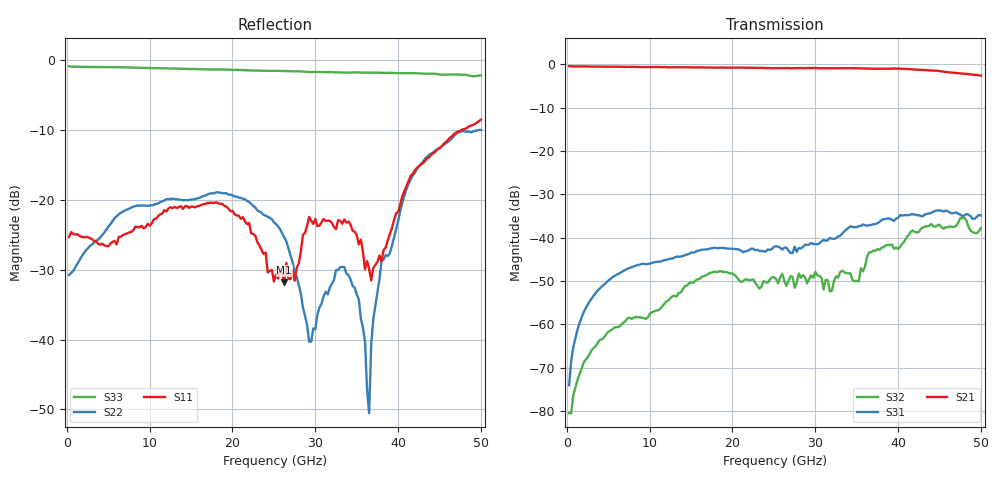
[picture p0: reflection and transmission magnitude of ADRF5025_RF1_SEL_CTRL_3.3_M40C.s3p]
! Device:  ADRF5025
! Description: Silicon SPDT Switch, Reflective
! Frequency:  9kHz -  44.00 GHz
! Ports:
!  RFC = Port 1
!  RF1 = Port 2
!  RF2 = Port 3
! VDD  =  +3.30 Volts
! VSS  =  -3.30 Volts
! CTRL  =  +3.30 Volts
! Data:  Data was collected using an calibrated 4 port network analyzer
!  using G-S-G Probes on Probe Matrix Board.
!  The reference plane is the package pins of ADRF5025 switch.
! Notes: Analog Devices supplies this data as a sample of measured data
!  for this product.  Your particular data for this product may vary.
!  Data was taken at -40 degrees C.
!  Analog Devices reserves the right to change this data at anytime.
# GHz S  dB  R 50
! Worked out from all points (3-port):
!   200 points, 260 MHz to 50.01 GHz, reference 50 ohm
!   strongest paths, dB at 260 MHz, 12.76 GHz, 25.26 GHz, 37.76 GHz, 50.01 GHz:
!     S21: -0.4, -0.7, -0.9, -1.0, -2.6
!     S31: -74.1, -44.8, -41.9, -36.4, -34.9
!     S32: -80.5, -53.5, -49.5, -42.8, -37.8
!   lowest |S11| = -31.8 dB at 26.26 GHz (marker M1), VSWR 1.05, Z = 48.6 + j2.1 ohm
!   |S11| at or under -10 dB: start of sweep to 47.68 GHz
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0.26  -25.33 -3.1  -0.43 -2.6  -73.66 63.1
      -0.44 -2.6  -30.77 -15.0  -84.98 36.4
      -74.06 63.0  -80.49 40.4  -0.87 178.1
3.26  -25.88 -57.3  -0.54 -30.0  -53.31 65.2
      -0.54 -30.0  -26.13 -97.1  -65.31 64.9
      -53.30 65.2  -65.42 67.2  -0.99 156.6
11.01  -22.34 172.8  -0.64 -100.5  -45.59 18.3
       -0.63 -100.7  -20.54 179.4  -56.77 45.5
       -45.55 17.9  -56.77 46.1  -1.16 99.9
25.26  -30.70 104.3  -0.86 127.8  -41.90 -90.1
       -0.89 127.6  -23.48 85.5  -49.59 -146.9
       -41.95 -89.9  -49.54 -146.6  -1.53 -4.6
26.26  -31.79 123.0  -0.88 118.7  -42.27 -101.9
       -0.91 118.4  -25.37 84.9  -49.83 -173.5
       -42.33 -101.9  -49.93 -172.8  -1.56 -11.7
29.26  -22.44 157.6  -0.88 89.7  -41.72 -128.8
       -0.87 90.3  -40.30 110.9  -49.88 145.0
       -41.59 -127.1  -49.52 143.9  -1.70 -34.0
34.76  -24.57 90.6  -0.97 38.1  -37.71 170.7
       -0.94 37.4  -32.58 142.7  -50.08 97.5
       -37.59 170.8  -50.01 95.1  -1.75 -76.3
36.51  -29.92 7.7  -0.95 20.4  -37.13 152.6
       -1.00 20.1  -50.56 -122.1  -43.47 106.4
       -37.12 152.4  -43.38 105.6  -1.80 -91.2
41.26  -17.35 -106.6  -1.13 -28.9  -34.83 106.4
       -1.13 -28.9  -17.75 -108.3  -39.41 64.7
       -34.84 106.5  -39.46 64.0  -1.85 -128.0
50.01  -8.53 154.9  -2.67 -121.2  -34.74 41.1
       -2.63 -121.9  -10.00 134.6  -37.94 -21.4
       -34.88 40.7  -37.81 -19.0  -2.19 168.3
